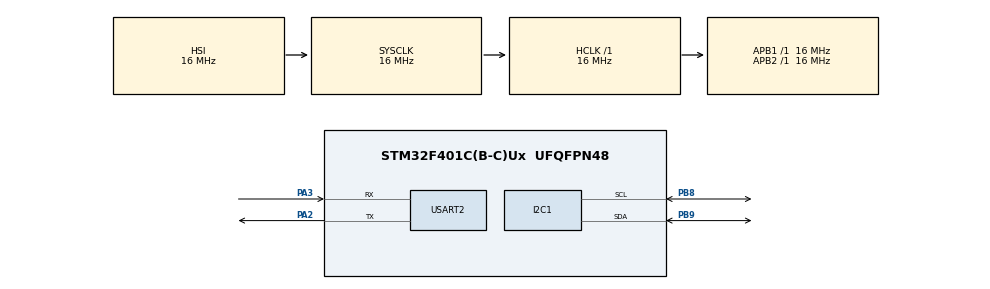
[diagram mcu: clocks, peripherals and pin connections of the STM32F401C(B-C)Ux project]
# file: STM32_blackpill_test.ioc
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Mcu.Family=STM32F4
Mcu.Name=STM32F401C(B-C)Ux
Mcu.Package=UFQFPN48
NVIC.PriorityGroup=NVIC_PRIORITYGROUP_4
PA2.Mode=Asynchronous
PA2.Signal=USART2_TX
PA3.Mode=Asynchronous
PA3.Signal=USART2_RX
PB8.Mode=I2C
PB8.Signal=I2C1_SCL
PB9.Mode=I2C
PB9.Signal=I2C1_SDA
ProjectManager.HeapSize=0x200
ProjectManager.StackSize=0x400
ProjectManager.TargetToolchain=STM32CubeIDE
RCC.AHBFreq_Value=16000000
RCC.APB1Freq_Value=16000000
RCC.APB2Freq_Value=16000000
RCC.CortexFreq_Value=16000000
RCC.HSE_VALUE=25000000
RCC.HSI_VALUE=16000000
RCC.LSE_VALUE=32768
RCC.SYSCLKFreq_VALUE=16000000
RCC.VCOOutputFreq_Value=192000000
USART2.VirtualMode=VM_ASYNC
board=custom

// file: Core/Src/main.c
/* USER CODE BEGIN Header */
/**
  ******************************************************************************
  * @file           : main.c
  * @brief          : Main program body
  ******************************************************************************
  * @attention
  *
  * Copyright (c) 2026 STMicroelectronics.
  * All rights reserved.
  *
  * This software is licensed under terms that can be found in the LICENSE file
  * in the root directory of this software component.
  * If no LICENSE file comes with this software, it is provided AS-IS.
  *
  ******************************************************************************
  */
/* USER CODE END Header */
#include "main.h"

/* USER CODE BEGIN Includes */
#include <string.h>
#include <stdio.h>

/* USER CODE END Includes */

I2C_HandleTypeDef hi2c1;

UART_HandleTypeDef huart2;

void SystemClock_Config(void);
static void MX_GPIO_Init(void);
static void MX_I2C1_Init(void);
static void MX_USART2_UART_Init(void);

int main(void)
{

  /* MCU Configuration--------------------------------------------------------*/

  /* Reset of all peripherals, Initializes the Flash interface and the Systick. */
  HAL_Init();

  /* Configure the system clock */
  SystemClock_Config();

  /* Initialize all configured peripherals */
  MX_GPIO_Init();
  MX_I2C1_Init();
  MX_USART2_UART_Init();
  /* USER CODE BEGIN 2 */
  uint8_t chip_id;
  char msg[64];
  HAL_StatusTypeDef status;

  /* USER CODE END 2 */

  /* Infinite loop */
  while (1)
  {

    /* USER CODE BEGIN 3 */
	  status = HAL_I2C_Mem_Read(&hi2c1,
	                            0x76 << 1,
	                            0xD0,
	                            I2C_MEMADD_SIZE_8BIT,
	                            &chip_id,
	                            1,
	                            100);

	  if (status == HAL_OK)
	  {
	      sprintf(msg, "BMP280 ID: 0x%02X\r\n", chip_id);
	  }
	  else
	  {
	      sprintf(msg, "I2C ERROR: %d\r\n", status);
	  }

	  HAL_UART_Transmit(&huart2,
	                    (uint8_t *)msg,
	                    strlen(msg),
	                    100);

	  HAL_Delay(1000);
  }
  /* USER CODE END 3 */
}

void SystemClock_Config(void)
{
  RCC_OscInitTypeDef RCC_OscInitStruct = {0};
  RCC_ClkInitTypeDef RCC_ClkInitStruct = {0};

  /** Configure the main internal regulator output voltage
  */
  __HAL_RCC_PWR_CLK_ENABLE();
  __HAL_PWR_VOLTAGESCALING_CONFIG(PWR_REGULATOR_VOLTAGE_SCALE2);

  /** Initializes the RCC Oscillators according to the specified parameters
  * in the RCC_OscInitTypeDef structure.
  */
  RCC_OscInitStruct.OscillatorType = RCC_OSCILLATORTYPE_HSI;
  RCC_OscInitStruct.HSIState = RCC_HSI_ON;
  RCC_OscInitStruct.HSICalibrationValue = RCC_HSICALIBRATION_DEFAULT;
  RCC_OscInitStruct.PLL.PLLState = RCC_PLL_NONE;
  if (HAL_RCC_OscConfig(&RCC_OscInitStruct) != HAL_OK)
  {
    Error_Handler();
  }

  /** Initializes the CPU, AHB and APB buses clocks
  */
  RCC_ClkInitStruct.ClockType = RCC_CLOCKTYPE_HCLK|RCC_CLOCKTYPE_SYSCLK
                              |RCC_CLOCKTYPE_PCLK1|RCC_CLOCKTYPE_PCLK2;
  RCC_ClkInitStruct.SYSCLKSource = RCC_SYSCLKSOURCE_HSI;
  RCC_ClkInitStruct.AHBCLKDivider = RCC_SYSCLK_DIV1;
  RCC_ClkInitStruct.APB1CLKDivider = RCC_HCLK_DIV1;
  RCC_ClkInitStruct.APB2CLKDivider = RCC_HCLK_DIV1;

  if (HAL_RCC_ClockConfig(&RCC_ClkInitStruct, FLASH_LATENCY_0) != HAL_OK)
  {
    Error_Handler();
  }
}

static void MX_I2C1_Init(void)
{

  hi2c1.Instance = I2C1;
  hi2c1.Init.ClockSpeed = 100000;
  hi2c1.Init.DutyCycle = I2C_DUTYCYCLE_2;
  hi2c1.Init.OwnAddress1 = 0;
  hi2c1.Init.AddressingMode = I2C_ADDRESSINGMODE_7BIT;
  hi2c1.Init.DualAddressMode = I2C_DUALADDRESS_DISABLE;
  hi2c1.Init.OwnAddress2 = 0;
  hi2c1.Init.GeneralCallMode = I2C_GENERALCALL_DISABLE;
  hi2c1.Init.NoStretchMode = I2C_NOSTRETCH_DISABLE;
  if (HAL_I2C_Init(&hi2c1) != HAL_OK)
  {
    Error_Handler();
  }

}

static void MX_USART2_UART_Init(void)
{

  huart2.Instance = USART2;
  huart2.Init.BaudRate = 115200;
  huart2.Init.WordLength = UART_WORDLENGTH_8B;
  huart2.Init.StopBits = UART_STOPBITS_1;
  huart2.Init.Parity = UART_PARITY_NONE;
  huart2.Init.Mode = UART_MODE_TX_RX;
  huart2.Init.HwFlowCtl = UART_HWCONTROL_NONE;
  huart2.Init.OverSampling = UART_OVERSAMPLING_16;
  if (HAL_UART_Init(&huart2) != HAL_OK)
  {
    Error_Handler();
  }

}

static void MX_GPIO_Init(void)
{

  /* GPIO Ports Clock Enable */
  __HAL_RCC_GPIOA_CLK_ENABLE();
  __HAL_RCC_GPIOB_CLK_ENABLE();

}

void Error_Handler(void)
{
  __disable_irq();
  while (1)
  {
  }
}
